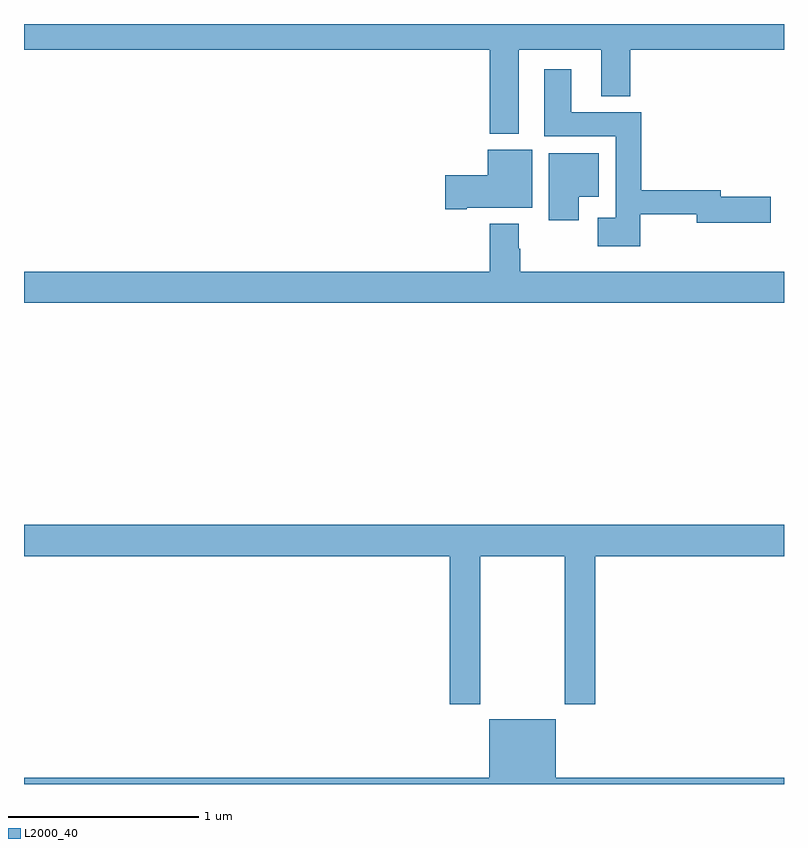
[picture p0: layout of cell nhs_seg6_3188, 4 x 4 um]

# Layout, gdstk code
import gdstk
lib = gdstk.Library(unit=1e-6, precision=1e-09)
def P(c, l, *ps):  # polygons
    for p in ps: c.add(gdstk.Polygon(p, *l))
L2000_40 = (2000, 40)

nhs_seg6_3188 = lib.new_cell('nhs_seg6_3188')
P(nhs_seg6_3188, L2000_40, [(301.603,919.364),(302.039,919.364),(302.039,919.121),(302.192,919.121),(302.192,919.364),(303,919.364),(303,919.5),(299,919.5),(299,919.364),(301.451,919.364),(301.451,918.923),(301.603,918.923)],
  [(302.244,918.498),(302.54,918.498),(302.54,918.455),(302.929,918.455),(302.929,918.59),(302.668,918.59),(302.668,918.626),(302.249,918.626),(302.249,919.036),(301.879,919.036),(301.879,919.261),(301.739,919.261),(301.739,918.908),(302.114,918.908),(302.114,918.481),(302.019,918.481),(302.019,918.329),(302.244,918.329)],
  [(301.33,918.533),(301.675,918.533),(301.675,918.838),(301.442,918.838),(301.442,918.704),(301.218,918.704),(301.218,918.526),(301.33,918.526)],
  [(301.921,918.59),(302.026,918.59),(302.026,918.82),(301.763,918.82),(301.763,918.468),(301.921,918.468)],
  [(303,918.196),(301.611,918.196),(301.611,918.317),(301.603,918.317),(301.603,918.448),(301.451,918.448),(301.451,918.196),(299,918.196),(299,918.032),(303,918.032)],
  [(301.401,916.7),(301.846,916.7),(301.846,915.921),(302.006,915.921),(302.006,916.7),(303,916.7),(303,916.864),(299,916.864),(299,916.7),(301.241,916.7),(301.241,915.921),(301.401,915.921)],
  [(303,915.532),(301.798,915.532),(301.798,915.841),(301.448,915.841),(301.448,915.532),(299,915.532),(299,915.5),(303,915.5)])

lib.write_gds('nhs_seg6_3188.gds')
